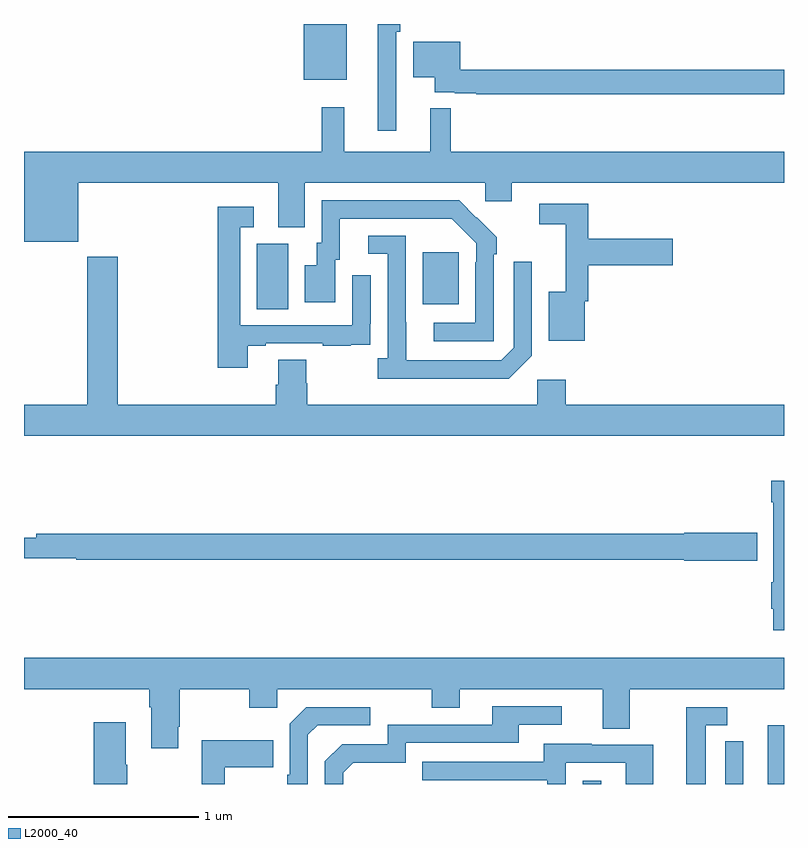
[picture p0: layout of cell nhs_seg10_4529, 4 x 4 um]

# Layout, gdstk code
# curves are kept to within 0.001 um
import gdstk
lib = gdstk.Library(unit=1e-6, precision=1e-09)
def R(c, l, rs):  # rectangles x0, y0, x1, y1
    for r in rs: c.add(gdstk.rectangle(r[:2], r[2:], *l))
def P(c, l, *ps):  # polygons
    for p in ps: c.add(gdstk.Polygon(p, *l))
L2000_40 = (2000, 40)

nhs_seg10_4529 = lib.new_cell('nhs_seg10_4529')
R(nhs_seg10_4529, L2000_40, [(371.94,1282.5,372.037,1282.516), (372.914,1282.5,373,1282.81), (370.226,1285,370.39,1285.344), (371.099,1285.025,371.287,1285.3), (370.472,1286.207,370.699,1286.5)])
P(nhs_seg10_4529, L2000_40, [(370.959,1286.459),(370.979,1286.459),(370.979,1286.5),(370.862,1286.5),(370.862,1285.938),(370.959,1285.938)],
  [(373,1286.258),(371.297,1286.258),(371.297,1286.407),(371.048,1286.407),(371.048,1286.219),(371.162,1286.219),(371.162,1286.142),(371.266,1286.142),(371.266,1286.136),(371.38,1286.136),(371.38,1286.13),(373,1286.13)],
  [(369.286,1285.664),(370.337,1285.664),(370.337,1285.429),(370.477,1285.429),(370.477,1285.664),(371.427,1285.664),(371.427,1285.566),(371.566,1285.566),(371.566,1285.664),(373,1285.664),(373,1285.828),(371.246,1285.828),(371.246,1286.057),(371.138,1286.057),(371.138,1285.828),(370.685,1285.828),(370.685,1286.062),(370.567,1286.062),(370.567,1285.828),(369,1285.828),(369,1285.355),(369.286,1285.355)],
  [(371.472,1285.289),(371.487,1285.289),(371.487,1285.377),(371.29,1285.572),(370.566,1285.572),(370.566,1285.35),(370.541,1285.35),(370.541,1285.231),(370.478,1285.231),(370.478,1285.035),(370.639,1285.035),(370.639,1285.26),(370.663,1285.26),(370.663,1285.476),(371.251,1285.476),(371.379,1285.347),(371.379,1285.247),(371.376,1285.247),(371.376,1284.927),(371.157,1284.927),(371.157,1284.831),(371.472,1284.831)],
  [(371.95,1285.041),(371.969,1285.041),(371.969,1285.229),(372.415,1285.229),(372.415,1285.371),(371.969,1285.371),(371.969,1285.554),(371.712,1285.554),(371.712,1285.446),(371.852,1285.446),(371.852,1285.09),(371.762,1285.09),(371.762,1284.833),(371.95,1284.833)],
  [(370.177,1284.807),(370.273,1284.807),(370.273,1284.819),(370.573,1284.819),(370.573,1284.807),(370.721,1284.807),(370.721,1284.813),(370.823,1284.813),(370.823,1284.922),(370.824,1284.922),(370.824,1285.177),(370.728,1285.177),(370.728,1284.915),(370.137,1284.915),(370.137,1285.431),(370.21,1285.431),(370.21,1285.537),(370.021,1285.537),(370.021,1284.69),(370.177,1284.69)],
  [(371.673,1284.753),(371.673,1285.249),(371.577,1285.249),(371.577,1284.795),(371.511,1284.729),(371.011,1284.729),(371.01,1285.386),(370.812,1285.386),(370.812,1285.29),(370.914,1285.29),(370.914,1284.742),(370.863,1284.742),(370.863,1284.632),(371.552,1284.632)],
  [(373,1284.496),(371.852,1284.496),(371.852,1284.628),(371.7,1284.628),(371.7,1284.496),(370.49,1284.496),(370.49,1284.609),(370.485,1284.609),(370.485,1284.734),(370.337,1284.734),(370.337,1284.602),(370.325,1284.602),(370.325,1284.496),(369.494,1284.496),(369.494,1285.276),(369.334,1285.276),(369.334,1284.496),(369,1284.496),(369,1284.332),(373,1284.332)],
  [(373,1284.097),(372.932,1284.097),(372.932,1283.984),(372.944,1283.984),(372.944,1283.562),(372.932,1283.562),(372.932,1283.422),(372.944,1283.422),(372.944,1283.31),(373,1283.31)],
  [(372.859,1283.822),(372.474,1283.822),(372.474,1283.816),(369.064,1283.816),(369.064,1283.797),(369,1283.797),(369,1283.688),(369.274,1283.688),(369.274,1283.68),(372.474,1283.68),(372.474,1283.675),(372.859,1283.675)],
  [(369.811,1282.801),(369.819,1282.801),(369.819,1283),(370.186,1283),(370.186,1282.901),(370.332,1282.901),(370.332,1283),(371.146,1283),(371.146,1282.901),(371.293,1282.901),(371.293,1283),(372.047,1283),(372.047,1282.792),(372.187,1282.792),(372.187,1283),(373,1283),(373,1283.164),(369,1283.164),(369,1283),(369.659,1283),(369.659,1282.904),(369.671,1282.904),(369.671,1282.689),(369.811,1282.689)],
  [(370.68,1282.56),(370.733,1282.613),(371.01,1282.613),(371.01,1282.716),(371.605,1282.716),(371.605,1282.812),(371.83,1282.812),(371.83,1282.908),(371.465,1282.908),(371.465,1282.812),(370.914,1282.812),(370.914,1282.71),(370.674,1282.71),(370.584,1282.62),(370.584,1282.5),(370.68,1282.5)],
  [(370.494,1282.758),(370.545,1282.809),(370.822,1282.809),(370.822,1282.905),(370.485,1282.905),(370.398,1282.818),(370.398,1282.549),(370.386,1282.549),(370.386,1282.5),(370.494,1282.5)],
  [(372.589,1282.809),(372.7,1282.809),(372.7,1282.905),(372.485,1282.905),(372.485,1282.5),(372.589,1282.5)],
  [(369.543,1282.601),(369.535,1282.601),(369.535,1282.825),(369.368,1282.825),(369.368,1282.5),(369.543,1282.5)],
  [(370.057,1282.589),(370.313,1282.589),(370.313,1282.729),(369.936,1282.729),(369.936,1282.5),(370.057,1282.5)],
  [(372.785,1282.57),(372.786,1282.57),(372.786,1282.724),(372.69,1282.724),(372.69,1282.5),(372.785,1282.5)],
  [(371.85,1282.611),(372.168,1282.611),(372.168,1282.5),(372.313,1282.5),(372.313,1282.707),(371.989,1282.707),(371.989,1282.711),(371.735,1282.711),(371.735,1282.617),(371.095,1282.617),(371.095,1282.521),(371.754,1282.521),(371.754,1282.5),(371.85,1282.5)])

lib.write_gds('nhs_seg10_4529.gds')
